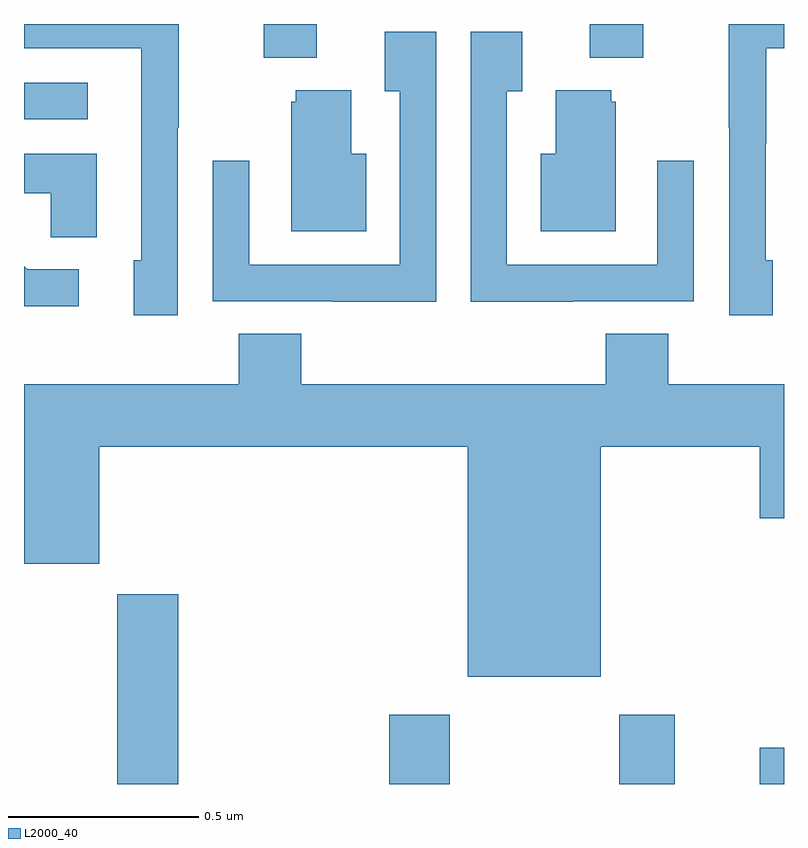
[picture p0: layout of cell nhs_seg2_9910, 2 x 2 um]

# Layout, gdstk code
import gdstk
lib = gdstk.Library(unit=1e-6, precision=1e-09)
def R(c, l, rs):  # rectangles x0, y0, x1, y1
    for r in rs: c.add(gdstk.rectangle(r[:2], r[2:], *l))
def P(c, l, *ps):  # polygons
    for p in ps: c.add(gdstk.Polygon(p, *l))
L2000_40 = (2000, 40)

nhs_seg2_9910 = lib.new_cell('nhs_seg2_9910')
R(nhs_seg2_9910, L2000_40, [(235.246,594.8,235.406,595.3), (235.961,594.8,236.121,594.982), (236.566,594.8,236.713,594.982), (236.936,594.8,237,594.895), (235,596.55,235.168,596.646), (235.631,596.711,235.771,596.8), (236.489,596.711,236.629,596.8)])
P(nhs_seg2_9910, L2000_40, [(236.971,596.178),(236.952,596.178),(236.952,596.485),(236.953,596.485),(236.953,596.736),(237,596.736),(237,596.8),(236.854,596.8),(236.854,596.527),(236.856,596.527),(236.856,596.034),(236.971,596.034)],
  [(235.404,596.527),(235.407,596.527),(235.407,596.8),(235,596.8),(235,596.736),(235.308,596.736),(235.308,596.178),(235.289,596.178),(235.289,596.034),(235.404,596.034)],
  [(236.085,596.779),(235.949,596.779),(235.949,596.623),(235.989,596.623),(235.989,596.166),(235.593,596.166),(235.593,596.44),(235.497,596.44),(235.497,596.07),(235.813,596.07),(235.813,596.069),(236.085,596.069)],
  [(236.447,596.07),(236.763,596.07),(236.763,596.44),(236.667,596.44),(236.667,596.166),(236.271,596.166),(236.271,596.623),(236.311,596.623),(236.311,596.779),(236.175,596.779),(236.175,596.069),(236.447,596.069)],
  [(235.9,596.458),(235.861,596.458),(235.861,596.626),(235.715,596.626),(235.715,596.595),(235.703,596.595),(235.703,596.255),(235.9,596.255)],
  [(236.557,596.595),(236.546,596.595),(236.546,596.626),(236.399,596.626),(236.399,596.458),(236.36,596.458),(236.36,596.255),(236.557,596.255)],
  [(235.192,596.458),(235,596.458),(235,596.354),(235.071,596.354),(235.071,596.239),(235.192,596.239)],
  [(235.144,596.154),(235.009,596.154),(235,596.163),(235,596.057),(235.144,596.057)],
  [(236.518,595.688),(236.936,595.688),(236.936,595.5),(237,595.5),(237,595.852),(236.696,595.852),(236.696,595.985),(236.531,595.985),(236.531,595.852),(235.73,595.852),(235.73,595.985),(235.565,595.985),(235.565,595.852),(235,595.852),(235,595.379),(235.198,595.379),(235.198,595.688),(236.168,595.688),(236.168,595.082),(236.518,595.082)])

lib.write_gds('nhs_seg2_9910.gds')
